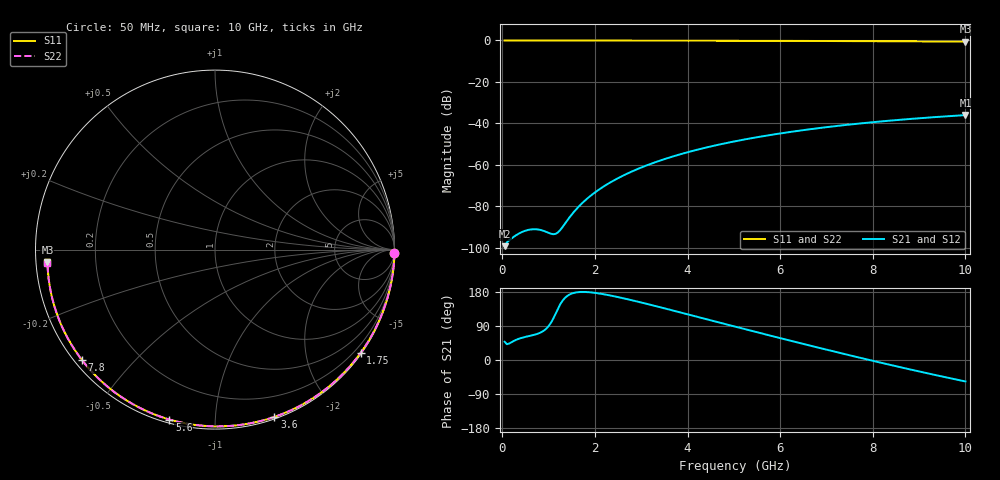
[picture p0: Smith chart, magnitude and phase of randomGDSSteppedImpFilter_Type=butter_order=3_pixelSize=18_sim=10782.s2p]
! freq	dB(S11)	phase(S11)	dB(S12)	phase(S12)
!  dB(S21)	phase(S21)	dB(S22)	phase(S22)
!S-par simulation data
#  GHz  S  DB  R 50
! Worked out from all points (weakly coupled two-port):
!   200 points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, 50 MHz to 10 GHz, reference 50 ohm
!   highest |S21| = -35.97 dB at 10 GHz (marker M1); lowest = -99.1 dB at 50 MHz (marker M2)
!   lowest |S11| = -0.6 dB at 10 GHz (marker M3), VSWR 30.31, Z = 1.65 - j1.92 ohm
!   |S11| at or under -10 dB: nowhere
!   |S22| runs from -0.6 to 0.0 dB; largest |S21 - S12| = 0
!   S11 on the Smith chart (normalised r, x): 50 MHz: open; 1.75 GHz: 0.03, -3.13; 3.6 GHz: 0.02, -1.42; 5.6 GHz: 0.02, -0.77; 7.8 GHz: 0.02, -0.36; 10 GHz: 0.03, -0.04
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0.05  -0.00 -1.0  -99.15 48.2  -99.15 48.2  -0.00 -1.0
0.4  -0.01 -8.2  -92.59 57.8  -92.59 57.8  -0.01 -8.2
0.8  -0.02 -16.4  -91.21 71.0  -91.21 71.0  -0.02 -16.4
1.2  -0.03 -24.5  -92.56 134.9  -92.56 134.9  -0.03 -24.5
1.65  -0.04 -33.4  -80.07 179.2  -80.07 179.2  -0.04 -33.4
1.75  -0.05 -35.4  -77.88 179.6  -77.88 179.6  -0.05 -35.4
1.9  -0.05 -38.4  -74.98 178.6  -74.98 178.6  -0.05 -38.4
2.05  -0.05 -41.3  -72.45 176.3  -72.45 176.3  -0.05 -41.3
2.25  -0.06 -45.2  -69.52 172.2  -69.52 172.2  -0.06 -45.2
2.45  -0.06 -49.0  -66.96 167.3  -66.96 167.3  -0.06 -49.0
2.9  -0.07 -57.6  -62.17 154.7  -62.17 154.7  -0.07 -57.6
3.4  -0.09 -66.8  -57.94 139.5  -57.94 139.5  -0.09 -66.8
3.6  -0.09 -70.5  -56.48 133.3  -56.48 133.3  -0.09 -70.5
4.3  -0.12 -83.0  -52.15 111.1  -52.15 111.1  -0.12 -83.0
5.05  -0.15 -95.9  -48.49 87.4  -48.49 87.4  -0.15 -95.8
5.6  -0.17 -105.0  -46.25 70.1  -46.25 70.1  -0.17 -105.0
6.15  -0.20 -114.0  -44.32 53.1  -44.32 53.1  -0.20 -114.0
6.7  -0.24 -122.8  -42.63 36.4  -42.63 36.4  -0.24 -122.8
7.8  -0.32 -140.2  -39.83 3.7  -39.83 3.7  -0.32 -140.2
8.35  -0.38 -148.9  -38.68 -12.1  -38.68 -12.1  -0.38 -148.9
9.2  -0.47 -162.4  -37.17 -35.6  -37.17 -35.6  -0.47 -162.4
10  -0.57 -175.6  -35.97 -56.6  -35.97 -56.6  -0.57 -175.6
